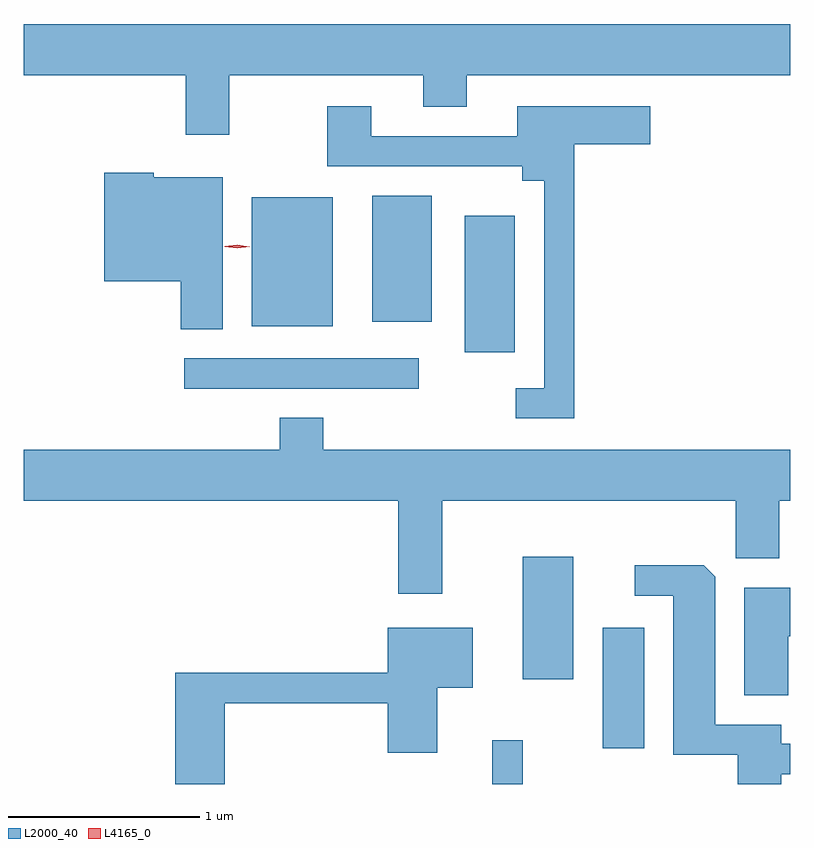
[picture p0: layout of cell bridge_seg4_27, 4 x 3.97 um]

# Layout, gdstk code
import gdstk
lib = gdstk.Library(unit=1e-6, precision=1e-09)
def R(c, l, rs):  # rectangles x0, y0, x1, y1
    for r in rs: c.add(gdstk.rectangle(r[:2], r[2:], *l))
def P(c, l, *ps):  # polygons
    for p in ps: c.add(gdstk.Polygon(p, *l))
L2000_40 = (2000, 40)
L4165_0 = (4165, 0)

bridge_seg4_27 = lib.new_cell('bridge_seg4_27')
R(bridge_seg4_27, L2000_40, [(1245.521,1293.259,1245.679,1293.488), (1246.096,1293.446,1246.314,1294.074), (1245.681,1293.806,1245.944,1294.444), (1243.913,1295.321,1245.138,1295.479), (1245.376,1295.511,1245.639,1296.224), (1244.266,1295.646,1244.689,1296.319), (1244.896,1295.671,1245.204,1296.329)])
P(bridge_seg4_27, L2000_40, [(1244.149,1296.956),(1245.161,1296.956),(1245.161,1296.791),(1245.389,1296.791),(1245.389,1296.956),(1247.076,1296.956),(1247.076,1297.224),(1243.076,1297.224),(1243.076,1296.956),(1243.921,1296.956),(1243.921,1296.646),(1244.149,1296.646)],
  [(1245.949,1296.596),(1246.344,1296.596),(1246.344,1296.794),(1245.651,1296.794),(1245.651,1296.639),(1244.889,1296.639),(1244.889,1296.794),(1244.661,1296.794),(1244.661,1296.481),(1245.676,1296.481),(1245.676,1296.406),(1245.791,1296.406),(1245.791,1295.324),(1245.643,1295.324),(1245.643,1295.166),(1245.949,1295.166)],
  [(1244.114,1296.424),(1243.754,1296.424),(1243.754,1296.449),(1243.496,1296.449),(1243.496,1295.881),(1243.896,1295.881),(1243.896,1295.631),(1244.114,1295.631)],
  [(1245.259,1294.736),(1246.791,1294.736),(1246.791,1294.436),(1247.019,1294.436),(1247.019,1294.736),(1247.076,1294.736),(1247.076,1295.004),(1244.639,1295.004),(1244.639,1295.169),(1244.411,1295.169),(1244.411,1295.004),(1243.076,1295.004),(1243.076,1294.736),(1245.031,1294.736),(1245.031,1294.251),(1245.259,1294.251)],
  [(1247.029,1293.311),(1247.076,1293.311),(1247.076,1293.469),(1247.029,1293.469),(1247.029,1293.569),(1246.684,1293.569),(1246.684,1294.339),(1246.624,1294.399),(1246.263,1294.399),(1246.263,1294.241),(1246.466,1294.241),(1246.466,1293.411),(1246.801,1293.411),(1246.801,1293.259),(1247.029,1293.259)],
  [(1247.064,1294.031),(1247.076,1294.031),(1247.076,1294.284),(1246.836,1294.284),(1246.836,1293.721),(1247.064,1293.721)],
  [(1244.124,1293.681),(1244.976,1293.681),(1244.976,1293.421),(1245.234,1293.421),(1245.234,1293.761),(1245.419,1293.761),(1245.419,1294.074),(1244.976,1294.074),(1244.976,1293.839),(1243.866,1293.839),(1243.866,1293.259),(1244.124,1293.259)])
P(bridge_seg4_27, L4165_0, [(1244.19,1296.053),(1244.124,1296.063),(1244.124,1296.063),(1244.124,1296.064),(1244.19,1296.073),(1244.256,1296.063),(1244.256,1296.063),(1244.256,1296.062)])

lib.write_gds('bridge_seg4_27.gds')
